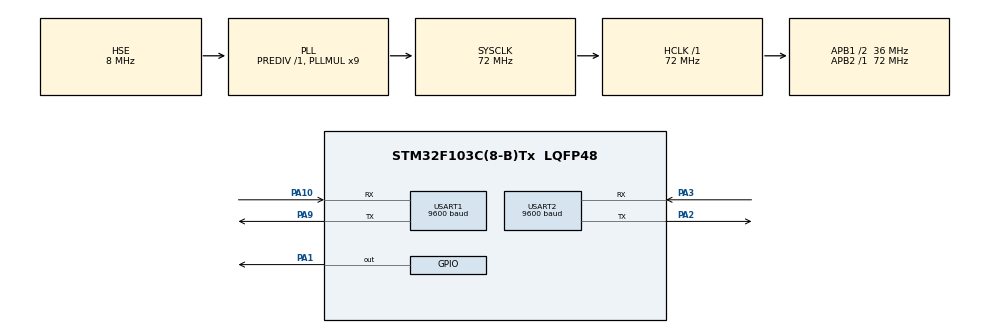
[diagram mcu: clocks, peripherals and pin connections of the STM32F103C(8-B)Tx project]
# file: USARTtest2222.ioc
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Mcu.Family=STM32F1
Mcu.Name=STM32F103C(8-B)Tx
Mcu.Package=LQFP48
NVIC.PriorityGroup=NVIC_PRIORITYGROUP_4
NVIC.USART1_IRQn=true\:0\:0\:false\:false\:true\:true\:true\:true
NVIC.USART2_IRQn=true\:0\:0\:false\:false\:true\:true\:true\:true
PA1.GPIO_PuPd=GPIO_NOPULL
PA1.Signal=GPIO_Output
PA10.Mode=Asynchronous
PA10.Signal=USART1_RX
PA13.Mode=Serial_Wire
PA13.Signal=SYS_JTMS-SWDIO
PA14.Mode=Serial_Wire
PA14.Signal=SYS_JTCK-SWCLK
PA2.Mode=Asynchronous
PA2.Signal=USART2_TX
PA3.Mode=Asynchronous
PA3.Signal=USART2_RX
PA9.Mode=Asynchronous
PA9.Signal=USART1_TX
PD0-OSC_IN.Mode=HSE-External-Oscillator
PD0-OSC_IN.Signal=RCC_OSC_IN
PD1-OSC_OUT.Mode=HSE-External-Oscillator
PD1-OSC_OUT.Signal=RCC_OSC_OUT
ProjectManager.HeapSize=0x200
ProjectManager.StackSize=0x400
ProjectManager.TargetToolchain=MDK-ARM V5.32
RCC.AHBFreq_Value=72000000
RCC.APB1CLKDivider=RCC_HCLK_DIV2
RCC.APB1Freq_Value=36000000
RCC.APB1TimFreq_Value=72000000
RCC.APB2Freq_Value=72000000
RCC.APB2TimFreq_Value=72000000
RCC.HCLKFreq_Value=72000000
RCC.PLLMUL=RCC_PLL_MUL9
RCC.PLLSourceVirtual=RCC_PLLSOURCE_HSE
RCC.SYSCLKFreq_VALUE=72000000
RCC.SYSCLKSource=RCC_SYSCLKSOURCE_PLLCLK
RCC.USBFreq_Value=72000000
USART1.BaudRate=9600
USART1.VirtualMode=VM_ASYNC
USART2.BaudRate=9600
USART2.VirtualMode=VM_ASYNC
board=custom

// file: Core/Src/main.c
/* USER CODE BEGIN Header */
/**
  ******************************************************************************
  * @file           : main.c
  * @brief          : Main program body
  ******************************************************************************
  * @attention
  *
  * Copyright (c) 2026 STMicroelectronics.
  * All rights reserved.
  *
  * This software is licensed under terms that can be found in the LICENSE file
  * in the root directory of this software component.
  * If no LICENSE file comes with this software, it is provided AS-IS.
  *
  ******************************************************************************
  */
/* USER CODE END Header */
#include "main.h"
#include "usart.h"
#include "gpio.h"
#include "string.h"
#include "stdbool.h"

/* USER CODE BEGIN PD */
#define MAX_RXBUF_SIZE 256
#define MAX_TXBUF_SIZE 256

/* USER CODE END PD */

/* USER CODE BEGIN PV */
uint8_t usart1_rx_buf[MAX_RXBUF_SIZE];
uint8_t usart1_tx_buf[MAX_TXBUF_SIZE];
uint8_t usart2_rx_buf[MAX_RXBUF_SIZE];
uint8_t usart2_tx_buf[MAX_TXBUF_SIZE];

volatile uint16_t usart1_rx_len = 0;
volatile uint16_t usart2_rx_len = 0;
volatile bool usart1_rx_done = false;
volatile bool usart2_rx_done = false;

/* 初始化标志 */
volatile bool valve_initialized = false;

/* USER CODE END PV */

void SystemClock_Config(void);
void RS485_SetTxMode(void);
void RS485_SetRxMode(void);
void Valve_SendCommand(uint8_t* data, uint16_t len);
void Valve_InitAddress(void);
void Valve_Task(void);

/**
  * @brief  RS485设置为发送模式 (DE/RE = 1)
  */
void RS485_SetTxMode(void)
{
    HAL_GPIO_WritePin(GPIOA, GPIO_PIN_1, GPIO_PIN_SET);
}

/**
  * @brief  RS485设置为接收模式 (DE/RE = 0)
  */
void RS485_SetRxMode(void)
{
    HAL_GPIO_WritePin(GPIOA, GPIO_PIN_1, GPIO_PIN_RESET);
}

/**
  * @brief  通过USART2发送命令到阀门
  */
void Valve_SendCommand(uint8_t* data, uint16_t len)
{
    RS485_SetTxMode();
    HAL_Delay(1);
    HAL_UART_Transmit(&huart2, data, len, 0xFFFF);
    HAL_Delay(1);
    RS485_SetRxMode();
}

/**
  * @brief  初始化阀门地址（从00改为01）
  */
void Valve_InitAddress(void)
{
    // 设置阀门地址为01的命令
    // FF 20 00 20 00 01 02 00 01 2B 80
    uint8_t set_addr_cmd[] = {0xFF, 0x20, 0x00, 0x20, 0x00, 0x01, 0x02, 0x00, 0x01, 0x2B, 0x80};

    Valve_SendCommand(set_addr_cmd, sizeof(set_addr_cmd));

    HAL_Delay(100);
}

/**
  * @brief  阀门通信任务处理
  */
void Valve_Task(void)
{
    uint16_t rx_len;

    // 处理USART1接收到的数据
    if (usart1_rx_done)
    {
        usart1_rx_done = false;
        rx_len = usart1_rx_len;
        usart1_rx_len = 0;

        // 原样返回给PC
        HAL_UART_Transmit(&huart1, usart1_rx_buf, rx_len, 0xFFFF);

        // 如果收到数据是Modbus命令帧（包含地址和功能码），转发给阀门
        if (rx_len >= 4)
        {
            uint8_t addr = usart1_rx_buf[0];
            // 检查是否是有效的从站地址 (0x01-0xFE) 或广播地址 (0xFF)
            if ((addr >= 0x01 && addr <= 0xFE) || addr == 0xFF)
            {
                // 转发命令给阀门
                Valve_SendCommand(usart1_rx_buf, rx_len);
            }
        }
    }

    // 处理USART2接收到的阀门响应
    if (usart2_rx_done)
    {
        usart2_rx_done = false;
        rx_len = usart2_rx_len;
        usart2_rx_len = 0;

        // 将阀门响应原样返回给PC
        if (rx_len > 0)
        {
            HAL_UART_Transmit(&huart1, usart2_rx_buf, rx_len, 0xFFFF);
        }
    }
}

int main(void)
{

  /* MCU Configuration--------------------------------------------------------*/

  /* Reset of all peripherals, Initializes the Flash interface and the Systick. */
  HAL_Init();

  /* Configure the system clock */
  SystemClock_Config();

  /* Initialize all configured peripherals */
  MX_GPIO_Init();
  MX_USART1_UART_Init();
  MX_USART2_UART_Init();
  /* USER CODE BEGIN 2 */

  // 初始化RS485为接收模式
  RS485_SetRxMode();

  // 启动USART1接收中断
  HAL_UART_Receive_IT(&huart1, &usart1_rx_buf[0], 1);

  // 启动USART2接收中断
  HAL_UART_Receive_IT(&huart2, &usart2_rx_buf[0], 1);

  // 初始化阀门地址（从00设置为01）
  Valve_InitAddress();
  valve_initialized = true;

  /* USER CODE END 2 */

  /* Infinite loop */
  while (1)
  {

    /* USER CODE BEGIN 3 */
    // 处理阀门通信任务
    Valve_Task();
  }
  /* USER CODE END 3 */
}

void SystemClock_Config(void)
{
  RCC_OscInitTypeDef RCC_OscInitStruct = {0};
  RCC_ClkInitTypeDef RCC_ClkInitStruct = {0};

  /** Initializes the RCC Oscillators according to the specified parameters
  * in the RCC_OscInitTypeDef structure.
  */
  RCC_OscInitStruct.OscillatorType = RCC_OSCILLATORTYPE_HSE;
  RCC_OscInitStruct.HSEState = RCC_HSE_ON;
  RCC_OscInitStruct.HSEPredivValue = RCC_HSE_PREDIV_DIV1;
  RCC_OscInitStruct.HSIState = RCC_HSI_ON;
  RCC_OscInitStruct.PLL.PLLState = RCC_PLL_ON;
  RCC_OscInitStruct.PLL.PLLSource = RCC_PLLSOURCE_HSE;
  RCC_OscInitStruct.PLL.PLLMUL = RCC_PLL_MUL9;
  if (HAL_RCC_OscConfig(&RCC_OscInitStruct) != HAL_OK)
  {
    Error_Handler();
  }

  /** Initializes the CPU, AHB and APB buses clocks
  */
  RCC_ClkInitStruct.ClockType = RCC_CLOCKTYPE_HCLK|RCC_CLOCKTYPE_SYSCLK
                              |RCC_CLOCKTYPE_PCLK1|RCC_CLOCKTYPE_PCLK2;
  RCC_ClkInitStruct.SYSCLKSource = RCC_SYSCLKSOURCE_PLLCLK;
  RCC_ClkInitStruct.AHBCLKDivider = RCC_SYSCLK_DIV1;
  RCC_ClkInitStruct.APB1CLKDivider = RCC_HCLK_DIV2;
  RCC_ClkInitStruct.APB2CLKDivider = RCC_HCLK_DIV1;

  if (HAL_RCC_ClockConfig(&RCC_ClkInitStruct, FLASH_LATENCY_2) != HAL_OK)
  {
    Error_Handler();
  }
}

/* USER CODE BEGIN 4 */

/* USART接收完成回调 */
void HAL_UART_RxCpltCallback(UART_HandleTypeDef *huart)
{
    if (huart->Instance == USART1)
    {
        usart1_rx_buf[usart1_rx_len++] = usart1_rx_buf[0];

        if (usart1_rx_len >= MAX_RXBUF_SIZE)
        {
            usart1_rx_done = true;
        }
        else
        {
            // 继续接收下一个字节
            HAL_UART_Receive_IT(&huart1, &usart1_rx_buf[usart1_rx_len], 1);
        }
    }
    else if (huart->Instance == USART2)
    {
        usart2_rx_buf[usart2_rx_len++] = usart2_rx_buf[0];

        if (usart2_rx_len >= MAX_RXBUF_SIZE)
        {
            usart2_rx_done = true;
        }
        else
        {
            // 继续接收下一个字节
            HAL_UART_Receive_IT(&huart2, &usart2_rx_buf[usart2_rx_len], 1);
        }
    }
}

/* USER CODE END 4 */

void Error_Handler(void)
{
  __disable_irq();
  while (1)
  {
  }
}
